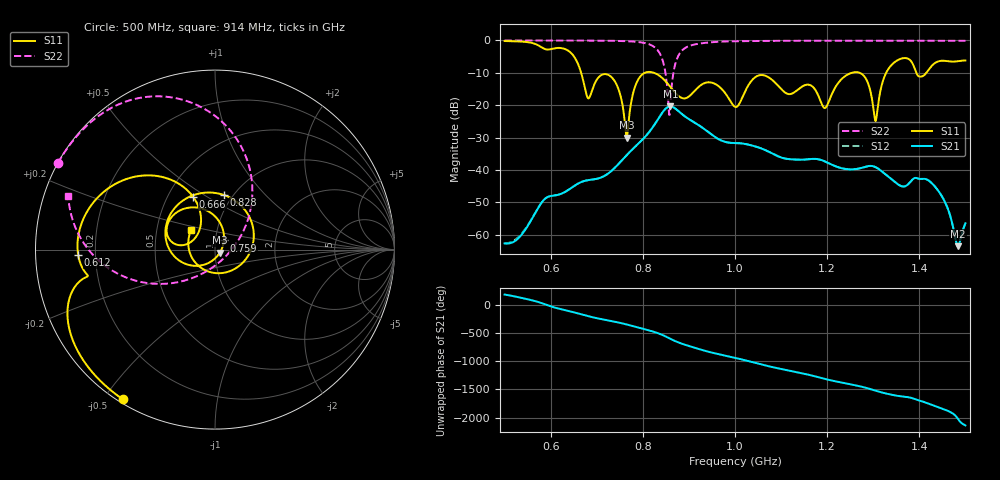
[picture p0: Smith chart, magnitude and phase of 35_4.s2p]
! TOUCHSTONE file generated by CST MICROWAVE STUDIO
! Date and time: Sat Nov 14 20:03:07 2020
! Project name: Scenario_1_Planar_Body_Tissue_Out_of_Line.cst
! Parameters = {dy1=-242.2; L_HA=400; Ltissue=700; MT=2.54; Rad_Dielectric=30; Rad_Lower=7.3; Rad_Upper=30; Wtissue=700; a_HA=580; a_WG=246; b_HA=500; b_WG=121; c_HA=0; c_WG=187; d_feed=85; dx1=693; h_feed=15; h_lower=18; h_upper=40; hfat=3; hgap=25; hmuscle=50; hskin=1.5}
! Header version: 2018
! Port assignment regex: !\s*Touchstone port\s*([0-9]+)\s*=\s*(CST MWS port|CST DS port)\s*([0-9]+|Zmin|Zmax)\s*\(\"(.*)\"\)(\s*mode\s*([0-9]+))?.*
! Touchstone port assignment:
! Touchstone port 1 = CST MWS port 1 ("")
! Touchstone port 2 = CST MWS port 2 ("")
# GHz S DB R 50
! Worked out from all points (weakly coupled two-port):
!   1003 points, 500 MHz to 1.5 GHz, reference 50 ohm
!   highest |S21| = -20.37 dB at 860 MHz (marker M1); lowest = -63.5 dB at 1.484 GHz (marker M2)
!   lowest |S11| = -30.0 dB at 765 MHz (marker M3), VSWR 1.07, Z = 52.7 - j1.79 ohm
!   |S11| at or under -10 dB: 666.1 MHz to 804.2 MHz (138.1 MHz wide, 18.8 % of centre); 824.2 MHz to 1.253 GHz (429 MHz wide, 41.3 % of centre); 1.271 GHz to 1.328 GHz (57.48 MHz wide, 4.42 % of centre) (the widest 3 of 4)
!   |S22| runs from -23.0 to 0.0 dB; largest |S21 - S12| = 4e-05
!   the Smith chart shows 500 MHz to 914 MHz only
!   S11 on the Smith chart (normalised r, x): 500 MHz: 0.01, -0.56; 612 MHz: 0.13, -0.02; 666 MHz: 0.67, +0.44; 759 MHz: 1.10, +0.11; 828 MHz: 0.91, +0.61; 914 MHz: 0.75, +0.17
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0.5  -0.18 -121.6  -62.63 179.0  -62.63 179.0  -0.01 151.2
0.612  -2.35 -177.8  -47.76 -58.8  -47.76 -58.8  -0.02 143.2
0.666  -9.95 112.5  -43.71 -170.7  -43.71 -170.7  -0.04 138.5
0.667  -10.44 111.8  -43.65 -173.0  -43.65 -173.0  -0.04 138.4
0.732  -11.32 120.1  -40.24 70.2  -40.24 70.2  -0.12 130.6
0.759  -22.95 45.9  -36.31 21.6  -36.31 21.6  -0.21 125.6
0.765  -29.97 -32.2  -35.40 9.2  -35.40 9.2  -0.24 124.3
0.789  -12.31 -175.5  -32.03 -42.6  -32.03 -42.6  -0.47 117.2
0.828  -10.22 81.0  -25.39 -131.7  -25.39 -131.7  -2.38 91.5
0.834  -10.70 65.2  -24.05 -148.8  -24.05 -148.8  -3.36 83.6
0.86  -14.37 -7.9  -20.37 114.1  -20.37 114.1  -18.77 -105.6
0.914  -15.33 140.9  -25.48 -46.9  -25.49 -46.9  -1.20 159.8
1  -20.50 -158.1  -31.66 140.4  -31.66 140.4  -0.26 140.1
1.052  -10.78 -6.9  -33.06 32.6  -33.06 32.6  -0.16 134.2
1.106  -15.78 -163.4  -36.36 -67.4  -36.36 -67.4  -0.12 129.2
1.167  -14.09 -15.5  -36.56 -175.0  -36.56 -175.0  -0.09 124.2
1.271  -10.02 1.5  -39.46 -5.3  -39.46 -5.3  -0.08 116.3
1.305  -24.88 11.5  -39.09 -82.7  -39.09 -82.7  -0.09 113.7
1.334  -8.58 35.3  -42.17 -144.6  -42.17 -144.6  -0.09 111.5
1.427  -7.84 -12.5  -44.03 26.9  -44.03 26.9  -0.10 104.2
1.484  -6.40 -41.4  -63.48 134.0  -63.48 134.0  -0.12 99.3
1.5  -6.19 -47.5  -56.43 21.5  -56.43 21.5  -0.13 97.9
